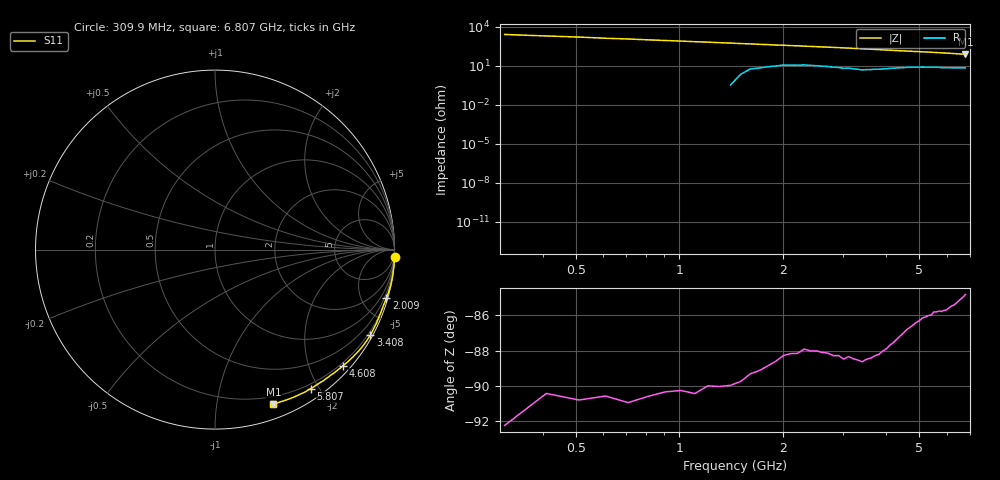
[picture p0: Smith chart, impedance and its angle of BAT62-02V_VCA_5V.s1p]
! Infineon Technologies  Discrete & RF Semiconductors
! BAT62-02V
! VCA = 5 V
! One-Port S-Parameters
# Hz  S  MA  R  50
!f  S11
!Hz  Mag  Ang
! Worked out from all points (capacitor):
!   66 points, 309.9 MHz to 6.807 GHz, reference 50 ohm
!   read as one part to ground: C = 208 fF near 309.9 MHz
!   lowest |Z| = 72.3 ohm at 6.807 GHz (marker M1)
!   S11 on the Smith chart (normalised r, x): 309.9 MHz: -2, -49; 2.009 GHz: 0.22, -7.28; 3.408 GHz: 0.09, -3.88; 4.608 GHz: 0.14, -2.58; 5.807 GHz: 0.14, -1.89; 6.807 GHz: 0.13, -1.44
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3.0985e8  1.002 -2.3
7.0965e8  1.002 -5.2
1.10945e9  1.001 -8.4
1.2094e9  1 -9.1
1.30935e9  1 -10.0
1.4093e9  0.9999 -10.7
1.50925e9  0.9991 -11.7
1.6092e9  0.9975 -12.3
1.70915e9  0.9965 -13.3
1.8091e9  0.9952 -14.1
1.90905e9  0.9937 -15.1
2.009e9  0.9919 -15.6
2.10895e9  0.9909 -16.7
2.2089e9  0.9905 -17.4
2.30885e9  0.9885 -18.5
2.6087e9  0.9883 -20.9
2.8086e9  0.9885 -22.8
3.0085e9  0.989 -24.7
3.4083e9  0.9886 -28.9
3.6082e9  0.9859 -31.1
4.008e9  0.9788 -35.7
4.4078e9  0.9684 -40.2
4.6077e9  0.963 -42.3
5.2074e9  0.9503 -48.5
5.8071e9  0.9412 -55.4
6.007e9  0.9383 -58.0
6.4068e9  0.9294 -63.3
6.8066e9  0.9189 -69.3
